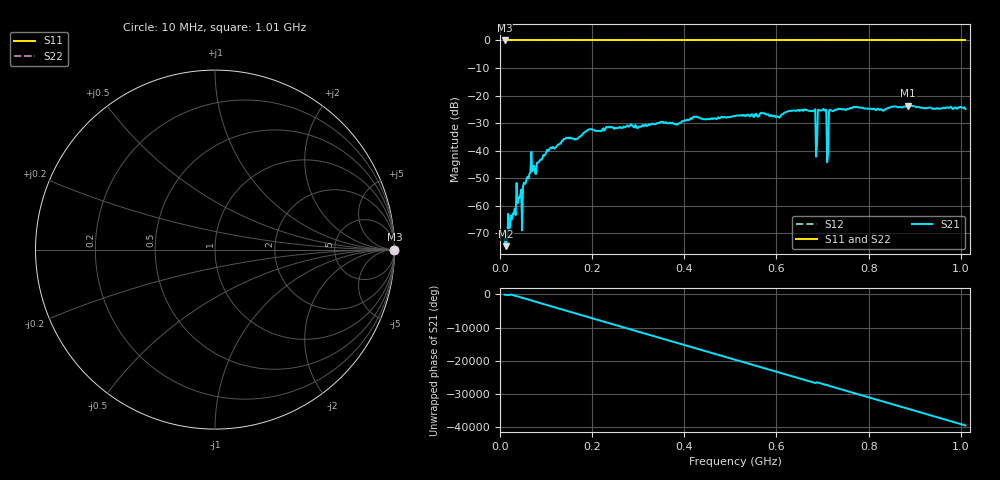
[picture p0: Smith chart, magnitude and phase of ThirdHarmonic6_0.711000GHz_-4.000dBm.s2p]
! 8/15/2025 11:45:27 PM
! C:\ANRITSUVNA\TEMP\TEMP.S2P
! CHANNEL.1
! TR.MEASUREMENT
! RAW.DATA
! RF.CORRECTION.OFF
! AVERAGING.OFF
! IF.BANDWIDTH: 5KHZ
! SWEEPTYPE:  FREQ.SWEEP(Linear)
! Reference Plane Port Info
! PORT:  PORT1  PORT2
! DISTANCE:  0  m  0  m
! TIME:  0  s  0  s
! PHASE.OFFSET:  0  deg.  0  deg.
! LOSS:  0  dB  0  dB
! REF.LOSS:  0  dB  0  dB
! REF.FREQ:  0  Hz  0  Hz
! Power Info
! POWER:  -20  dBm  -20  dBm
! EFF.POWER:  -20  dBm  -20  dBm
! SOURCE.ATTEN:  0  dB  0  dB
! TEST.ATTEN:  0  dB  0  dB
# GHZ S RI R 50.0
! FREQ.GHZ  S11RE  S11IM  S21RE  S21IM  S12RE  S12IM  S22RE  S22IM
!; PortSelection: Port_12
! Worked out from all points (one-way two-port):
!   501 points, 10 MHz to 1.01 GHz, reference 50 ohm
!   highest |S21| = -23.70 dB at 886 MHz (marker M1); lowest = -74.7 dB at 12 MHz (marker M2)
!   lowest |S11| = 0.0 dB at 10 MHz (marker M3)
!   |S11| at or under -10 dB: nowhere
!   |S22| runs from 0.0 to 0.0 dB; largest |S21 - S12| = 1.1
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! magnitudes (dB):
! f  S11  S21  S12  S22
! 10 MHz  0.0  -72.1  0.0  0.0
! 12 MHz  0.0  -74.7  0.0  0.0
! 40 MHz  0.0  -57.1  0.0  0.0
! 44 MHz  0.0  -56.2  0.0  0.0
! 70 MHz  0.0  -47.5  0.0  0.0
! 74 MHz  0.0  -45.6  0.0  0.0
! 106 MHz  0.0  -39.9  0.0  0.0
! 142 MHz  0.0  -35.6  0.0  0.0
! 178 MHz  0.0  -34.4  0.0  0.0
! 344 MHz  0.0  -30.0  0.0  0.0
! 510 MHz  0.0  -27.4  0.0  0.0
! 678 MHz  0.0  -25.7  0.0  0.0
! 684 MHz  0.0  -25.0  0.0  0.0
! 690 MHz  0.0  -25.2  0.0  0.0
! 694 MHz  0.0  -25.4  0.0  0.0
! 704 MHz  0.0  -25.5  0.0  0.0
! 708 MHz  0.0  -25.2  0.0  0.0
! 714 MHz  0.0  -25.7  0.0  0.0
! 718 MHz  0.0  -25.4  0.0  0.0
! 844 MHz  0.0  -24.5  0.0  0.0
! 886 MHz  0.0  -23.7  0.0  0.0
! 1.01 GHz  0.0  -24.9  0.0  0.0
